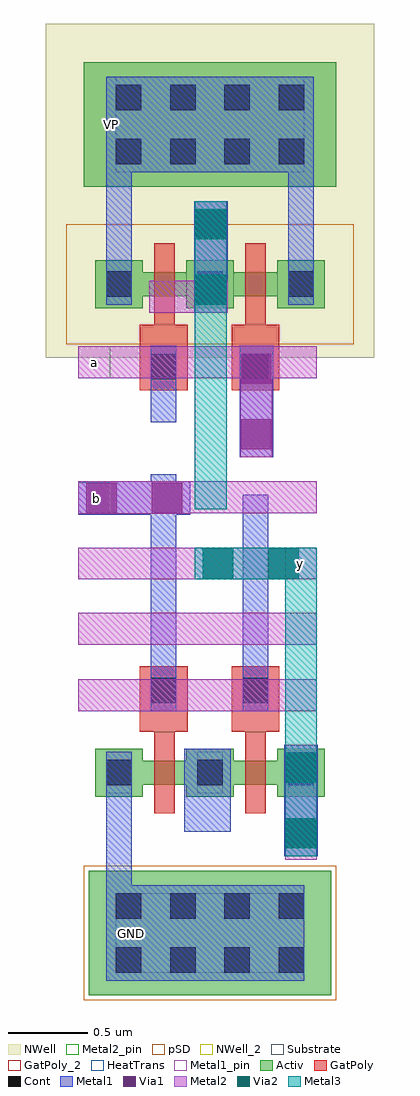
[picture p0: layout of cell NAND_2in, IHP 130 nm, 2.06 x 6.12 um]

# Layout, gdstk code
from math import pi, radians
import gdstk
lib = gdstk.Library(unit=1e-6, precision=1e-09)
def R(c, l, rs):  # rectangles x0, y0, x1, y1
    for r in rs: c.add(gdstk.rectangle(r[:2], r[2:], *l))
def A(c, l, x, y, w, h, nx, ny, dx, dy):  # array of equal rectangles
    R(c, l, [(x+i*dx, y+j*dy, x+i*dx+w, y+j*dy+h) for i in range(nx) for j in range(ny)])
Activ = (1, 0)
GatPoly = (5, 0)
GatPoly_2 = (5, 2)
Cont = (6, 0)
Metal1 = (8, 0)
Metal1_pin = (8, 2)
Metal2 = (10, 0)
Metal2_pin = (10, 2)
pSD = (14, 0)
Via1 = (19, 0)
Via2 = (29, 0)
Metal3 = (30, 0)
NWell = (31, 0)
NWell_2 = (31, 2)
Substrate = (40, 0)
HeatTrans = (51, 0)

via_4 = lib.new_cell('Via$4')
R(via_4, Metal2, [(-0.1,-0.35,0.1,0.35)])
R(via_4, Via2, [(-0.095,-0.3,0.095,-0.11), (-0.095,0.11,0.095,0.3)])
R(via_4, Metal3, [(-0.1,-0.35,0.1,0.35)])

via_2 = lib.new_cell('Via$2')
R(via_2, Metal1, [(-0.105,-0.35,0.105,0.35)])
R(via_2, Metal2, [(-0.1,-0.35,0.1,0.35)])
R(via_2, Via1, [(-0.095,-0.3,0.095,-0.11), (-0.095,0.11,0.095,0.3)])

via = lib.new_cell('Via')
R(via, GatPoly, [(-0.15,-0.15,0.15,0.15)])
R(via, Cont, [(-0.08,-0.08,0.08,0.08)])
R(via, Metal1, [(-0.13,-0.08,0.13,0.08)])

pmos = lib.new_cell('pmos')
R(pmos, Activ, [(0,0,0.3,0.3), (0.57,0,0.87,0.3), (0,0.075,0.87,0.225)])
R(pmos, GatPoly, [(0.37,-0.105,0.5,0.405), (0.37,-0.105,0.5,0.405)])
R(pmos, Cont, [(0.07,0.07,0.23,0.23), (0.64,0.07,0.8,0.23)])
R(pmos, Metal1, [(0.07,0.02,0.23,0.28), (0.07,0.02,0.23,0.28), (0.64,0.02,0.8,0.28), (0.64,0.02,0.8,0.28)])
R(pmos, pSD, [(-0.18,-0.225,1.05,0.525)])
R(pmos, NWell, [(-0.31,-0.31,1.18,0.61)])
R(pmos, Substrate, [(0.57,0,0.87,0.3)])
R(pmos, HeatTrans, [(0.37,-0.105,0.5,0.405)])
pmos.add(gdstk.Label('pmos', (0.435,0.15), layer=63, texttype=0))
pmos.add(gdstk.Label('pmos', (0.435,0.15), layer=51, texttype=0))

ntap1 = lib.new_cell('ntap1')
R(ntap1, Activ, [(0,0,1.58,0.78)])
A(ntap1, Cont, 0.2, 0.14, 0.16, 0.16, 4, 2, 0.34, 0.34)
R(ntap1, Metal1, [(0.2,0.09,1.38,0.69)])
R(ntap1, Metal1_pin, [(0.2,0.09,1.38,0.69), (0.2,0.14,1.38,0.64)])
R(ntap1, NWell, [(-0.24,-0.24,1.82,1.02), (0,0,1.58,0.78)])
R(ntap1, NWell_2, [(0,0,1.58,0.78)])
ntap1.add(gdstk.Label('well', (0.79,0.01), layer=63, texttype=0))
ntap1.add(gdstk.Label('well', (0.79,0.01), layer=31, texttype=0))

nmos = lib.new_cell('nmos')
R(nmos, Activ, [(0,0,0.3,0.3), (0.57,0,0.87,0.3), (0,0.075,0.87,0.225)])
R(nmos, GatPoly, [(0.37,-0.105,0.5,0.405)])
R(nmos, GatPoly_2, [(0.37,-0.105,0.5,0.405)])
R(nmos, Cont, [(0.07,0.07,0.23,0.23), (0.64,0.07,0.8,0.23)])
R(nmos, Metal1, [(0.07,0.02,0.23,0.28), (0.64,0.02,0.8,0.28)])
R(nmos, Metal1_pin, [(0.07,0.02,0.23,0.28), (0.64,0.02,0.8,0.28)])
R(nmos, HeatTrans, [(0.37,-0.105,0.5,0.405)])
nmos.add(gdstk.Label('nmos', (0.435,0.15), layer=63, texttype=0))
nmos.add(gdstk.Label('nmos', (0.435,0.15), layer=51, texttype=0))

ptap1 = lib.new_cell('ptap1')
R(ptap1, Activ, [(0,0,1.52,0.78)])
A(ptap1, Cont, 0.17, 0.14, 0.16, 0.16, 4, 2, 0.34, 0.34)
R(ptap1, Metal1, [(0.17,0.09,1.35,0.69), (0.17,0.14,1.35,0.64)])
R(ptap1, Metal1_pin, [(0.17,0.14,1.35,0.64)])
R(ptap1, pSD, [(-0.03,-0.03,1.55,0.81)])
R(ptap1, Substrate, [(0,0,1.52,0.78)])
ptap1.add(gdstk.Label('sub!', (0.76,0.01), layer=63, texttype=0))
ptap1.add(gdstk.Label('sub!', (0.76,0.01), layer=40, texttype=0))

via_7 = lib.new_cell('Via$7')
R(via_7, Metal2, [(-0.35,-0.1,0.35,0.1)])
R(via_7, Via2, [(-0.3,-0.095,-0.11,0.095), (0.11,-0.095,0.3,0.095)])
R(via_7, Metal3, [(-0.35,-0.1,0.35,0.1)])

nand_2in = lib.new_cell('NAND_2in')
R(nand_2in, GatPoly, [(6.865,6.625,7.165,6.735), (7.44,6.625,7.74,6.735), (6.865,9.065,7.165,9.175), (7.44,9.065,7.74,9.175)])
R(nand_2in, Metal1, [(7.145,6,7.435,6.52)])
R(nand_2in, Metal1_pin, [(6.715,5.26,6.915,5.46), (6.715,10.33,6.915,10.53)])
R(nand_2in, Metal2_pin, [(7.775,7.58,7.975,7.78), (6.48,7.99,6.68,8.19), (6.48,8.84,6.68,9.04)])
nand_2in.add(gdstk.FlexPath([(7.875,10.13),(7.875,10.73)], 0.16, ends="flush", simple_path=True, layer=8, datatype=0))  # Metal1
nand_2in.add(gdstk.FlexPath([(6.735,10.13),(6.735,10.73)], 0.16, ends="flush", simple_path=True, layer=8, datatype=0))  # Metal1
nand_2in.add(gdstk.FlexPath([(7.59,8.435),(7.59,8.785)], 0.16, ends="flush", simple_path=True, layer=8, datatype=0))  # Metal1
nand_2in.add(gdstk.FlexPath([(7.015,8.785),(7.015,8.565)], 0.16, ends="flush", simple_path=True, layer=8, datatype=0))  # Metal1
nand_2in.add(gdstk.FlexPath([(7.875,9.56),(7.875,10.73)], 0.16, ends="flush", simple_path=True, layer=8, datatype=0))  # Metal1
nand_2in.add(gdstk.FlexPath([(6.735,9.56),(6.735,10.73)], 0.16, ends="flush", simple_path=True, layer=8, datatype=0))  # Metal1
nand_2in.add(gdstk.FlexPath([(6.735,5.665),(6.735,5.065)], 0.16, ends="flush", simple_path=True, layer=8, datatype=0))  # Metal1
nand_2in.add(gdstk.FlexPath([(7.875,6.195),(7.875,6.195)], 0.16, ends="flush", simple_path=True, layer=8, datatype=0))  # Metal1
nand_2in.add(gdstk.FlexPath([(6.735,6.24),(6.735,5.665)], 0.16, ends="flush", simple_path=True, layer=8, datatype=0))  # Metal1
nand_2in.add(gdstk.FlexPath([(7.015,6.93),(7.015,8.24)], 0.16, ends="flush", simple_path=True, layer=8, datatype=0))  # Metal1
nand_2in.add(gdstk.FlexPath([(7.59,6.93),(7.59,8.11)], 0.16, ends="flush", simple_path=True, layer=8, datatype=0))  # Metal1
nand_2in.add(gdstk.FlexPath([(7.015,8.215),(7.015,8.215)], 0.16, ends="flush", simple_path=True, layer=8, datatype=0))  # Metal1
nand_2in.add(gdstk.FlexPath([(6.48,8.94),(7.975,8.94)], 0.2, ends="flush", simple_path=True, layer=10, datatype=0))  # Metal2
nand_2in.add(gdstk.FlexPath([(7.415,9.35),(6.925,9.35)], 0.2, ends="flush", simple_path=True, layer=10, datatype=0))  # Metal2
nand_2in.add(gdstk.FlexPath([(7.875,6.195),(7.875,6.195)], 0.2, ends="flush", simple_path=True, layer=10, datatype=0))  # Metal2
nand_2in.add(gdstk.FlexPath([(6.48,7.68),(7.975,7.68)], 0.2, ends="flush", simple_path=True, layer=10, datatype=0))  # Metal2
nand_2in.add(gdstk.FlexPath([(6.48,8.095),(7.975,8.095)], 0.2, ends="flush", simple_path=True, layer=10, datatype=0))  # Metal2
nand_2in.add(gdstk.FlexPath([(6.48,7.27),(7.975,7.27)], 0.2, ends="flush", simple_path=True, layer=10, datatype=0))  # Metal2
nand_2in.add(gdstk.FlexPath([(7.875,5.925),(7.875,5.825)], 0.2, ends="flush", simple_path=True, layer=10, datatype=0))  # Metal2
nand_2in.add(gdstk.FlexPath([(6.48,6.855),(7.975,6.855)], 0.2, ends="flush", simple_path=True, layer=10, datatype=0))  # Metal2
nand_2in.add(gdstk.FlexPath([(7.31,9.39),(7.31,8.02)], 0.2, ends="flush", simple_path=True, layer=30, datatype=0))  # Metal3
nand_2in.add(gdstk.FlexPath([(7.875,6.4),(7.875,7.78)], 0.2, ends="flush", simple_path=True, layer=30, datatype=0))  # Metal3
nand_2in.add(gdstk.FlexPath([(7.02,9.175),(7.02,9.175)], 0.16, ends="flush", simple_path=True, layer=5, datatype=0))  # GatPoly
nand_2in.add(gdstk.Reference(via_4, (7.31,9.6), rotation=pi))
nand_2in.add(gdstk.Reference(via_2, (7.31,9.6), rotation=pi))
nand_2in.add(gdstk.Reference(via_2, (7.595,8.695), rotation=pi))
nand_2in.add(gdstk.Reference(via, (7.59,8.915), rotation=pi/2))
nand_2in.add(gdstk.Reference(pmos, (7.155,9.28)))
nand_2in.add(gdstk.Reference(via, (7.015,8.915), rotation=pi/2))
nand_2in.add(gdstk.Reference(ntap1, (6.515,10.04)))
nand_2in.add(gdstk.Reference(pmos, (6.585,9.28)))
nand_2in.add(gdstk.Reference(nmos, (6.585,6.22)))
nand_2in.add(gdstk.Reference(nmos, (7.155,6.22)))
nand_2in.add(gdstk.Reference(ptap1, (6.545,4.975)))
nand_2in.add(gdstk.Reference(via, (7.59,6.885), rotation=3*pi/2))
nand_2in.add(gdstk.Reference(via, (7.015,6.885), rotation=3*pi/2))
nand_2in.add(gdstk.Reference(via_7, (7.56,7.68)))
nand_2in.add(gdstk.Reference(via_2, (6.83,8.09), rotation=3*pi/2))
nand_2in.add(gdstk.Reference(via_4, (7.875,6.195), rotation=pi))
nand_2in.add(gdstk.Reference(via_2, (7.875,6.195), rotation=pi))
nand_2in.add(gdstk.Label('a', (6.58,8.94), layer=10, texttype=25))
nand_2in.add(gdstk.Label('y', (7.875,7.68), layer=10, texttype=25))
nand_2in.add(gdstk.Label('b', (6.595,8.085), layer=10, texttype=25))
nand_2in.add(gdstk.Label('VP', (6.685,10.43), layer=8, texttype=25))
nand_2in.add(gdstk.Label('GND', (6.815,5.36), layer=8, texttype=25))

lib.write_gds('NAND_2in.gds')
